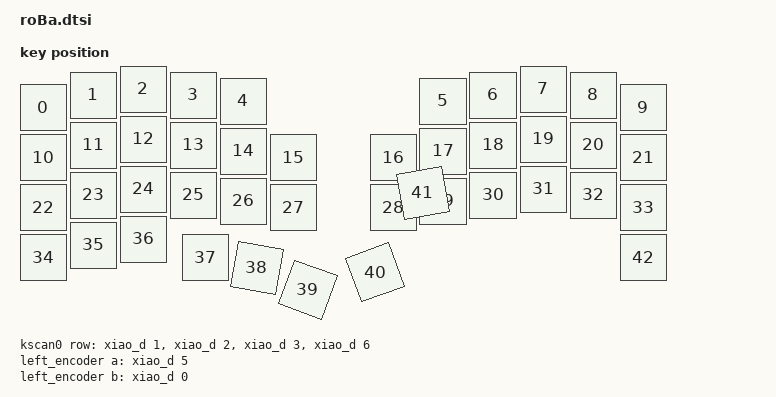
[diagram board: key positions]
#include <dt-bindings/zmk/matrix_transform.h>
#include <physical_layouts.dtsi>

/ {
    chosen {
        zmk,physical-layout = &roba_physical_layout;
    };
    default_transform: keymap_transform_0 {
        compatible = "zmk,matrix-transform";
        columns = <11>;
        rows = <4>;
        #define MT(row, col) (((row) << 8) + (col))
        map = 
            MT(0,0) MT(0,1) MT(0,2) MT(0,3) MT(0,4)                     MT(0,6) MT(0,7) MT(0,8) MT(0,9) MT(0,10)
            MT(1,0) MT(1,1) MT(1,2) MT(1,3) MT(1,4) MT(1,5)     MT(3,6) MT(1,6) MT(1,7) MT(1,8) MT(1,9) MT(1,10)
            MT(2,0) MT(2,1) MT(2,2) MT(2,3) MT(2,4) MT(2,5)     MT(3,7) MT(2,6) MT(2,7) MT(2,8) MT(2,9) MT(2,10)
            MT(3,0) MT(3,1) MT(3,2) MT(3,3) MT(3,4) MT(3,5)     MT(3,8) MT(3,9)                         MT(3,10)
        >;
        #undef MT
    };


    roba_physical_layout: roba_physical_layout {
        compatible = "zmk,physical-layout";
        display-name = "Default";
        transform = <&default_transform>;
        kscan = <&kscan0>;

        keys  //                     w   h    x    y     rot    rx    ry
            = <&key_physical_attrs 100 100    0   37       0     0     0>
            , <&key_physical_attrs 100 100  100   12       0     0     0>
            , <&key_physical_attrs 100 100  200    0       0     0     0>
            , <&key_physical_attrs 100 100  300   12       0     0     0>
            , <&key_physical_attrs 100 100  400   24       0     0     0>

            , <&key_physical_attrs 100 100  800   24       0     0     0>
            , <&key_physical_attrs 100 100  900   12       0     0     0>
            , <&key_physical_attrs 100 100 1000    0       0     0     0>
            , <&key_physical_attrs 100 100 1100   12       0     0     0>
            , <&key_physical_attrs 100 100 1200   37       0     0     0>

            , <&key_physical_attrs 100 100    0  137       0     0     0>
            , <&key_physical_attrs 100 100  100  112       0     0     0>
            , <&key_physical_attrs 100 100  200  100       0     0     0>
            , <&key_physical_attrs 100 100  300  112       0     0     0>
            , <&key_physical_attrs 100 100  400  124       0     0     0>
            , <&key_physical_attrs 100 100  500  137       0     0     0>

            , <&key_physical_attrs 100 100  700  137       0     0     0>
            , <&key_physical_attrs 100 100  800  124       0     0     0>
            , <&key_physical_attrs 100 100  900  112       0     0     0>
            , <&key_physical_attrs 100 100 1000  100       0     0     0>
            , <&key_physical_attrs 100 100 1100  112       0     0     0>
            , <&key_physical_attrs 100 100 1200  137       0     0     0>

            , <&key_physical_attrs 100 100    0  237       0     0     0>
            , <&key_physical_attrs 100 100  100  212       0     0     0>
            , <&key_physical_attrs 100 100  200  200       0     0     0>
            , <&key_physical_attrs 100 100  300  212       0     0     0>
            , <&key_physical_attrs 100 100  400  224       0     0     0>
            , <&key_physical_attrs 100 100  500  237       0     0     0>

            , <&key_physical_attrs 100 100  700  237       0     0     0>
            , <&key_physical_attrs 100 100  800  224       0     0     0>
            , <&key_physical_attrs 100 100  900  212       0     0     0>
            , <&key_physical_attrs 100 100 1000  200       0     0     0>
            , <&key_physical_attrs 100 100 1100  212       0     0     0>
            , <&key_physical_attrs 100 100 1200  237       0     0     0>

            , <&key_physical_attrs 100 100    0  337       0     0     0>
            , <&key_physical_attrs 100 100  100  312       0     0     0>
            , <&key_physical_attrs 100 100  200  300       0     0     0>
            , <&key_physical_attrs 100 100  325  337       0     0     0>
            , <&key_physical_attrs 100 100  437  350    1000   437   350>
            , <&key_physical_attrs 100 100  550  387    2000   550   387>



            , <&key_physical_attrs 100 100  650  387 (-2000)   650   387>
            , <&key_physical_attrs 100 100  763  350 (-1000)     0   350>

            , <&key_physical_attrs 100 100 1200  337       0     0     0>

            ;
    };

#define MT(row, col) (((row) << 8) + (col))
        map = <
            MT(0,0) MT(0,1) MT(0,2) MT(0,3) MT(0,4)                     MT(0,6) MT(0,7) MT(0,8) MT(0,9) MT(0,10)
            MT(1,0) MT(1,1) MT(1,2) MT(1,3) MT(1,4) MT(1,5)     MT(3,6) MT(1,6) MT(1,7) MT(1,8) MT(1,9) MT(1,10)
            MT(2,0) MT(2,1) MT(2,2) MT(2,3) MT(2,4) MT(2,5)     MT(3,7) MT(2,6) MT(2,7) MT(2,8) MT(2,9) MT(2,10)
            MT(3,0) MT(3,1) MT(3,2) MT(3,3) MT(3,4) MT(3,5)     MT(3,8) MT(3,9)                         MT(3,10)
        >;
#undef MT

    kscan0: kscan {
        compatible = "zmk,kscan-gpio-matrix";
        label = "KSCAN";
        diode-direction = "col2row";
            row-gpios
                = <&xiao_d 1 (GPIO_ACTIVE_HIGH | GPIO_PULL_DOWN)>
                , <&xiao_d 2 (GPIO_ACTIVE_HIGH | GPIO_PULL_DOWN)>
                , <&xiao_d 3 (GPIO_ACTIVE_HIGH | GPIO_PULL_DOWN)>
                , <&xiao_d 6 (GPIO_ACTIVE_HIGH | GPIO_PULL_DOWN)>
                ;
    };

    left_encoder: encoder_left {
        compatible = "alps,ec11";
        a-gpios = <&xiao_d 5 (GPIO_ACTIVE_HIGH | GPIO_PULL_UP)>;
        b-gpios = <&xiao_d 0 (GPIO_ACTIVE_HIGH | GPIO_PULL_UP)>;
        steps = <12>;
        status = "disabled";
    };

    right_encoder: encoder_right {
        status = "disabled";
    };

    sensors: sensors {
        compatible = "zmk,keymap-sensors";
        sensors = <&left_encoder &right_encoder>;
        triggers-per-rotation = <10>;
    };

    trackball_listener: trackball_listener {
        compatible = "zmk,input-listener";
        status = "disabled";
    };
};

&spi0 {
    status = "disabled";

    trackball: trackball@0 {
        status = "disabled";
        reg = <0>;
    };
};
